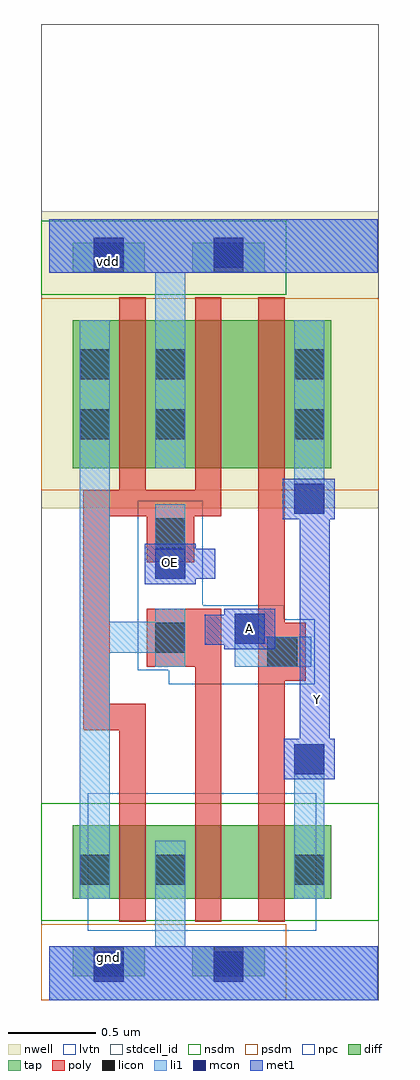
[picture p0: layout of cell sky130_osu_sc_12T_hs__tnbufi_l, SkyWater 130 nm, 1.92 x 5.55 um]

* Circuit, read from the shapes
.subckt sky130_osu_sc_12T_hs__tnbufi_l A OE Y gnd vdd
XM1 gnd OE n1 gnd sky130_fd_pr__nfet_01v8_lvt w=0.42 l=0.15
XM2 n2 n1 gnd gnd sky130_fd_pr__nfet_01v8_lvt w=0.42 l=0.15
XM3 Y A n2 gnd sky130_fd_pr__nfet_01v8_lvt w=0.42 l=0.15
XM4 vdd OE n1 vdd sky130_fd_pr__pfet_01v8 w=0.84 l=0.15
XM5 n3 OE vdd vdd sky130_fd_pr__pfet_01v8 w=0.84 l=0.15
XM6 Y A n3 vdd sky130_fd_pr__pfet_01v8 w=0.84 l=0.15
.ends

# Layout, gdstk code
import gdstk
lib = gdstk.Library(unit=1e-6, precision=1e-09)
def R(c, l, rs):  # rectangles x0, y0, x1, y1
    for r in rs: c.add(gdstk.rectangle(r[:2], r[2:], *l))
nwell = (64, 20)
diff = (65, 20)
tap = (65, 44)
poly = (66, 20)
licon = (66, 44)
li1 = (67, 20)
mcon = (67, 44)
met1 = (68, 20)
stdcell_id = (81, 4)
nsdm = (93, 44)
psdm = (94, 20)
npc = (95, 20)
lvtn = (125, 44)

sky130_osu_sc_12t_hs__tn = lib.new_cell('sky130_osu_sc_12T_hs__tnbufi_l')
R(sky130_osu_sc_12t_hs__tn, nwell, [(-0.045,2.795,1.875,4.485)])
R(sky130_osu_sc_12t_hs__tn, diff, [(0.135,0.575,1.605,0.995), (0.135,3.025,1.605,3.865)])
R(sky130_osu_sc_12t_hs__tn, tap, [(0.135,0.135,0.545,0.305), (0.815,0.135,1.225,0.305), (0.135,4.135,0.545,4.305), (0.815,4.135,1.225,4.305)])
R(sky130_osu_sc_12t_hs__tn, poly, [(0.4,0.445,0.55,1.535), (0.83,0.445,0.98,1.895), (1.19,0.445,1.34,1.815), (0.2,1.535,0.55,1.54), (0.195,1.54,0.55,1.685), (0.195,1.685,0.345,2.75), (1.19,1.815,1.46,2.145), (0.555,1.895,0.98,2.225), (1.19,2.145,1.34,3.995), (0.555,2.49,0.825,2.75), (0.195,2.75,0.98,2.9), (0.4,2.9,0.55,3.995), (0.83,2.9,0.98,3.995)])
R(sky130_osu_sc_12t_hs__tn, licon, [(0.255,0.135,0.425,0.305), (0.935,0.135,1.105,0.305), (0.175,0.655,0.345,0.825), (0.605,0.655,0.775,0.825), (1.395,0.655,1.565,0.825), (1.24,1.895,1.41,2.065), (0.605,1.975,0.775,2.145), (0.605,2.57,0.775,2.74), (0.175,3.19,0.345,3.36), (0.605,3.19,0.775,3.36), (1.395,3.19,1.565,3.36), (0.175,3.53,0.345,3.7), (0.605,3.53,0.775,3.7), (1.395,3.53,1.565,3.7), (0.255,4.135,0.425,4.305), (0.935,4.135,1.105,4.305)])
R(sky130_osu_sc_12t_hs__tn, li1, [(0,0,1.87,0.305), (0.605,0.305,0.775,0.905), (0.175,0.575,0.345,1.975), (1.395,0.575,1.565,1.455), (0.605,1.895,0.775,1.975), (1.055,1.895,1.49,2.065), (0.175,1.975,0.775,2.15), (1.055,2.065,1.225,2.195), (0.175,2.15,0.345,3.865), (0.605,2.15,0.775,2.225), (0.605,2.395,0.775,2.82), (1.395,2.765,1.565,3.865), (0.605,3.025,0.775,4.135), (0,4.135,1.87,4.44)])
R(sky130_osu_sc_12t_hs__tn, mcon, [(0.255,0.105,0.425,0.275), (0.935,0.105,1.105,0.275), (1.395,1.285,1.565,1.455), (1.055,2.025,1.225,2.195), (0.605,2.395,0.775,2.565), (1.395,2.765,1.565,2.935), (0.255,4.165,0.425,4.335), (0.935,4.165,1.105,4.335)])
R(sky130_osu_sc_12t_hs__tn, met1, [(0,0,1.87,0.305), (1.335,1.255,1.625,1.485), (1.425,1.485,1.595,2.735), (0.995,1.995,1.285,2.02), (0.885,2.02,1.285,2.19), (0.995,2.19,1.285,2.225), (0.545,2.365,0.835,2.395), (0.545,2.395,0.945,2.565), (0.545,2.565,0.835,2.595), (1.33,2.735,1.625,2.965), (0,4.135,1.87,4.44)])
R(sky130_osu_sc_12t_hs__tn, stdcell_id, [(-0.045,0,1.875,5.55)])
R(sky130_osu_sc_12t_hs__tn, nsdm, [(-0.045,0.45,1.875,1.12), (-0.045,4.01,1.35,4.43)])
R(sky130_osu_sc_12t_hs__tn, psdm, [(-0.045,0,1.35,0.43), (-0.045,2.9,1.875,3.99)])
R(sky130_osu_sc_12t_hs__tn, npc, [(0.68,1.795,1.51,1.875), (0.505,1.875,1.51,2.165), (0.505,2.165,1.335,2.245), (0.505,2.245,0.875,2.84)])
R(sky130_osu_sc_12t_hs__tn, lvtn, [(0.22,0.395,1.52,1.175)])
sky130_osu_sc_12t_hs__tn.add(gdstk.Label('gnd', (0.34,0.24), layer=68, texttype=16))
sky130_osu_sc_12t_hs__tn.add(gdstk.Label('vdd', (0.34,4.2), layer=68, texttype=16))
sky130_osu_sc_12t_hs__tn.add(gdstk.Label('Y', (1.525,1.71), layer=68, texttype=5))
sky130_osu_sc_12t_hs__tn.add(gdstk.Label('A', (1.14,2.115), layer=68, texttype=5))
sky130_osu_sc_12t_hs__tn.add(gdstk.Label('OE', (0.69,2.485), layer=68, texttype=5))

lib.write_gds('sky130_osu_sc_12T_hs__tnbufi_l.gds')
